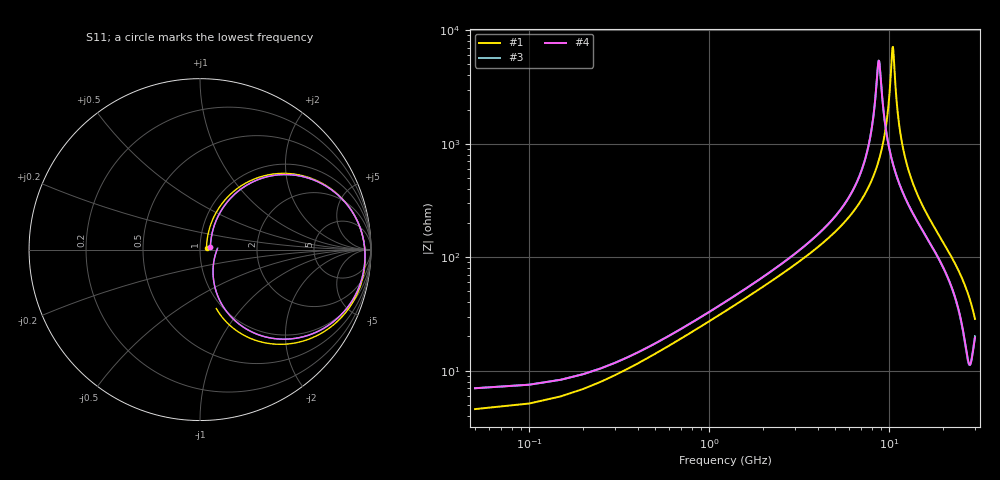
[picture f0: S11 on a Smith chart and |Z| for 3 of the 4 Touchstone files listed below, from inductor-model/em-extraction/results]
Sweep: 50 MHz to 30 GHz
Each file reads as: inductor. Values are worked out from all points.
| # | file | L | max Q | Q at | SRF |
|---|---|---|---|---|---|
| 1 | inductor_p11.s2p | 4.23 nH | 16.4 | 5.6 GHz | 10.45 GHz |
| 2 | inductor_p11_deembedded.s2p | 4.23 nH | 16.4 | 5.6 GHz | 10.45 GHz |
| 3 | inductor_p13.s2p | 5.05 nH | 12 | 4.1 GHz | 8.75 GHz |
| 4 | inductor_p13_deembedded.s2p | 5.04 nH | 12 | 4.1 GHz | 8.75 GHz |
